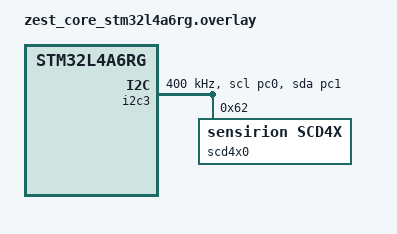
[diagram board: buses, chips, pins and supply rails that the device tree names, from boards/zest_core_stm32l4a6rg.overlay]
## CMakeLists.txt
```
# SPDX-License-Identifier: Apache-2.0

cmake_minimum_required(VERSION 3.20.0)
find_package(Zephyr REQUIRED HINTS $ENV{ZEPHYR_BASE})
project(blinky)

add_subdirectory(drivers)

target_sources(app PRIVATE src/main.c)
zephyr_include_directories(drivers/sensor/sensirion-scd4x)
```

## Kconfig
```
# Copyright (c) 2024 CATIE
# SPDX-License-Identifier: Apache-2.0

rsource "drivers/Kconfig"
```

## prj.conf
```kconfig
CONFIG_GPIO=y
CONFIG_SENSOR=y
CONFIG_LOG=y
CONFIG_LOG_DEFAULT_LEVEL=3
CONFIG_SCD4X=y
```

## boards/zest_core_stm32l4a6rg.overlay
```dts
&i2c3 {
	status = "okay";
	pinctrl-0 = <&i2c3_scl_pc0 &i2c3_sda_pc1>;
	pinctrl-names = "default";
	clock-frequency = < I2C_BITRATE_FAST >;
	scd4x0: scd4x@62 {
		compatible = "sensirion,scd4x";
		reg = <0x62>;
	};
};
```

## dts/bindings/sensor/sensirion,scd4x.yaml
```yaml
# Copyright (c) 2024 CATIE
# SPDX-License-Identifier: Apache-2.0

description: |
  Sensirion SCD4x CO2 sensor

  Example definition in devicetree:

  &sixtron_i2c {
    status = "okay";

    scd4x0: scd4x@62 {
      compatible = "sensirion,scd4x";
      reg = <0x62>;
    };
  };

compatible: "sensirion,scd4x"

include: [sensor-device.yaml, i2c-device.yaml]
```

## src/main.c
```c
/*
 * Copyright (c) 2016 Intel Corporation
 *
 * SPDX-License-Identifier: Apache-2.0
 */

#include <zephyr/kernel.h>
#include <zephyr/drivers/gpio.h>
#include <zephyr/drivers/sensor.h>
#include "scd4x.h"

/* 1000 msec = 1 sec */
#define SLEEP_TIME_MS   10000

/* The devicetree node identifier for the "led0" alias. */
#define LED0_NODE DT_ALIAS(led0)

/*
 * A build error on this line means your board is unsupported.
 * See the sample documentation for information on how to fix this.
 */
static const struct gpio_dt_spec led = GPIO_DT_SPEC_GET(LED0_NODE, gpios);

int main(void)
{
	int ret;
	const struct device *sensor;

	printk("Zephyr Example Application\n");

	sensor = DEVICE_DT_GET(DT_NODELABEL(scd4x0));
	if (!device_is_ready(sensor)) {
		printk("Sensor not ready");
		return 0;
	}

	if (!gpio_is_ready_dt(&led)) {
		return 0;
	}

	ret = gpio_pin_configure_dt(&led, GPIO_OUTPUT_ACTIVE);
	if (ret < 0) {
		return 0;
	}

	// Check I2C peripheral on bus, send a bytes to each address and check ACK */
	const struct scd4x_config *config = sensor->config;
	for (uint8_t i = 0; i < 128; i++) {
		uint8_t data = 0x00;
		ret = i2c_write(config->i2c.bus, &data, 1, i);
		if (ret == 0) {
			printk("I2C peripheral found at address 0x%02x\n", i);
		}
		k_sleep(K_MSEC(10));
	}

	struct sensor_value serial_number;
	ret = sensor_attr_get(sensor, SENSOR_CHAN_CO2,
					SCD4X_ATTR_SERIAL_NUMBER, &serial_number);
	if (ret < 0) {
		printk("Could not get attribute (%d)", ret);
		return 0;
	}

	// print val1 and val2 in hex format
	printk("Serial number: 0x%08x%08x\n", serial_number.val2, serial_number.val1);

	while (1) {
		struct sensor_value val;

		ret = sensor_sample_fetch(sensor);
		if (ret < 0) {
			printk("Could not fetch sample (%d)\n", ret);
		}

		ret = sensor_channel_get(sensor, SENSOR_CHAN_CO2, &val);
		if (ret < 0) {
			printk("Could not get sample (%d)", ret);
			return 0;
		}
		printk("CO2 value: %d ppm\n", val.val1);

		ret = sensor_channel_get(sensor, SENSOR_CHAN_HUMIDITY, &val);
		if (ret < 0) {
			printk("Could not get sample (%d)", ret);
			return 0;
		}
		printk("Humidity value: %d.%06d %%RH\n", val.val1, val.val2);

		ret = sensor_channel_get(sensor, SENSOR_CHAN_AMBIENT_TEMP, &val);
		if (ret < 0) {
			printk("Could not get sample (%d)", ret);
			return 0;
		}
		printk("Temperature value: %d.%06d C\n", val.val1, val.val2);

		ret = gpio_pin_toggle_dt(&led);
		if (ret < 0) {
			return 0;
		}
		k_msleep(SLEEP_TIME_MS);
	}
	return 0;
}
```
